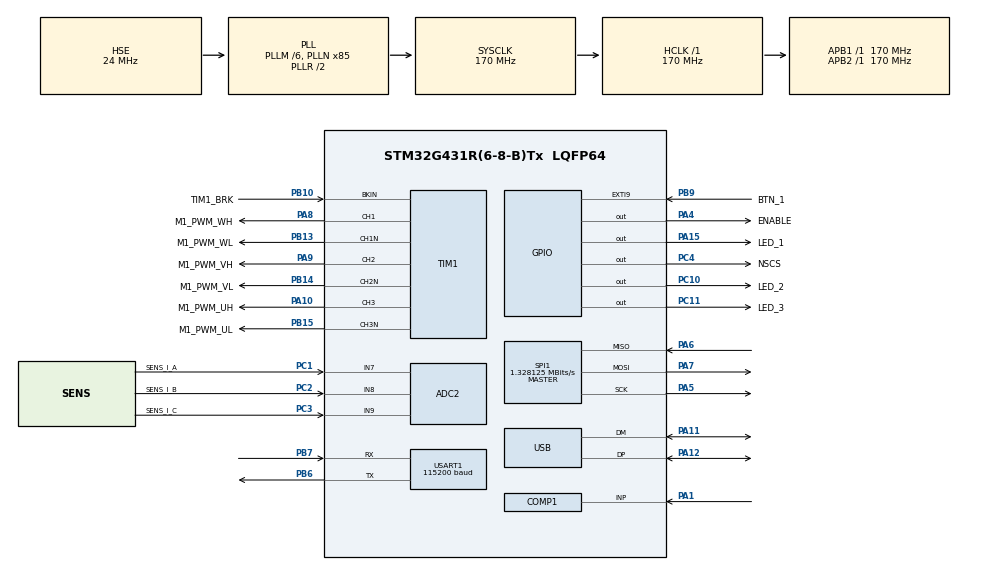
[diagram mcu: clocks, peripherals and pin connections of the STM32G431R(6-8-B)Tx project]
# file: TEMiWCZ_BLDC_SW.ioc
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ADC2.ClockPrescaler=ADC_CLOCK_SYNC_PCLK_DIV4
ADC2.DataAlign=ADC_DATAALIGN_LEFT
ADC2.EnableInjectedConversion=ENABLE
ADC2.EnableRegularConversion=DISABLE
ADC2.ExternalTrigInjecConv=ADC_EXTERNALTRIGINJEC_T1_TRGO
ADC2.InjNumberOfConversion=3
ADC2.InjectedChannel-5\#ChannelInjectedConversion=ADC_CHANNEL_7
ADC2.InjectedChannel-6\#ChannelInjectedConversion=ADC_CHANNEL_8
ADC2.InjectedChannel-7\#ChannelInjectedConversion=ADC_CHANNEL_9
ADC2.InjectedOffsetNumber-5\#ChannelInjectedConversion=ADC_OFFSET_NONE
ADC2.InjectedOffsetNumber-6\#ChannelInjectedConversion=ADC_OFFSET_NONE
ADC2.InjectedOffsetNumber-7\#ChannelInjectedConversion=ADC_OFFSET_NONE
ADC2.InjectedRank-5\#ChannelInjectedConversion=1
ADC2.InjectedRank-6\#ChannelInjectedConversion=2
ADC2.InjectedRank-7\#ChannelInjectedConversion=3
ADC2.InjectedSamplingTime-5\#ChannelInjectedConversion=ADC_SAMPLETIME_6CYCLES_5
ADC2.InjectedSamplingTime-6\#ChannelInjectedConversion=ADC_SAMPLETIME_6CYCLES_5
ADC2.InjectedSamplingTime-7\#ChannelInjectedConversion=ADC_SAMPLETIME_6CYCLES_5
ADC2.Rank1_Channel=ADC_CHANNEL_7
ADC2.Rank2_Channel=ADC_CHANNEL_8
ADC2.Rank3_Channel=ADC_CHANNEL_9
Mcu.Family=STM32G4
Mcu.Name=STM32G431R(6-8-B)Tx
Mcu.Package=LQFP64
NVIC.ADC1_2_IRQn=true\:2\:0\:true\:false\:true\:true\:true\:true
NVIC.EXTI9_5_IRQn=true\:0\:0\:false\:false\:true\:true\:true\:true
NVIC.PriorityGroup=NVIC_PRIORITYGROUP_3
NVIC.SPI1_IRQn=true\:0\:0\:false\:false\:true\:true\:true\:true
NVIC.TIM1_BRK_TIM15_IRQn=true\:4\:1\:true\:false\:true\:true\:true\:true
NVIC.TIM1_UP_TIM16_IRQn=true\:0\:0\:true\:false\:true\:true\:true\:true
NVIC.USART1_IRQn=true\:0\:0\:false\:false\:true\:true\:true\:true
NVIC.USB_HP_IRQn=true\:3\:0\:true\:false\:true\:true\:true\:true
NVIC.USB_LP_IRQn=true\:3\:0\:true\:false\:true\:true\:true\:true
PA1.Mode=INP
PA1.Signal=COMP1_INP
PA10.GPIO_Label=M1_PWM_UH
PA10.GPIO_PuPd=GPIO_PULLDOWN
PA10.GPIO_Speed=GPIO_SPEED_FREQ_HIGH
PA10.Signal=S_TIM1_CH3
PA11.Mode=Device
PA11.Signal=USB_DM
PA12.Mode=Device
PA12.Signal=USB_DP
PA13.GPIO_Label=T_SWDIO
PA13.Mode=Trace_Asynchronous_SW
PA13.Signal=SYS_JTMS-SWDIO
PA14.GPIO_Label=T_SWCLK
PA14.Mode=Trace_Asynchronous_SW
PA14.Signal=SYS_JTCK-SWCLK
PA15.GPIO_Label=LED_1
PA15.Signal=GPIO_Output
PA4.GPIO_Label=ENABLE
PA4.PinState=GPIO_PIN_SET
PA4.Signal=GPIO_Output
PA5.Mode=Full_Duplex_Master
PA5.Signal=SPI1_SCK
PA6.Mode=Full_Duplex_Master
PA6.Signal=SPI1_MISO
PA7.Mode=Full_Duplex_Master
PA7.Signal=SPI1_MOSI
PA8.GPIO_Label=M1_PWM_WH
PA8.GPIO_PuPd=GPIO_PULLDOWN
PA8.GPIO_Speed=GPIO_SPEED_FREQ_HIGH
PA8.Signal=S_TIM1_CH1
PA9.GPIO_Label=M1_PWM_VH
PA9.GPIO_PuPd=GPIO_PULLDOWN
PA9.GPIO_Speed=GPIO_SPEED_FREQ_HIGH
PA9.Signal=S_TIM1_CH2
PB10.GPIO_Label=TIM1_BRK
PB10.Mode=Activate-Break-Input
PB10.Signal=TIM1_BKIN
PB13.GPIO_Label=M1_PWM_WL
PB13.GPIO_PuPd=GPIO_PULLDOWN
PB13.GPIO_Speed=GPIO_SPEED_FREQ_HIGH
PB13.Mode=PWM Generation1 CH1 CH1N
PB13.Signal=TIM1_CH1N
PB14.GPIO_Label=M1_PWM_VL
PB14.GPIO_PuPd=GPIO_PULLDOWN
PB14.GPIO_Speed=GPIO_SPEED_FREQ_HIGH
PB14.Mode=PWM Generation2 CH2 CH2N
PB14.Signal=TIM1_CH2N
PB15.GPIO_Label=M1_PWM_UL
PB15.GPIO_PuPd=GPIO_PULLDOWN
PB15.GPIO_Speed=GPIO_SPEED_FREQ_HIGH
PB15.Mode=PWM Generation3 CH3 CH3N
PB15.Signal=TIM1_CH3N
PB3.Mode=Trace_Asynchronous_SW
PB3.Signal=SYS_JTDO-SWO
PB6.Mode=Asynchronous
PB6.Signal=USART1_TX
PB7.Mode=Asynchronous
PB7.Signal=USART1_RX
PB9.GPIO_Label=BTN_1
PB9.GPIO_ModeDefaultEXTI=GPIO_MODE_IT_FALLING
PB9.GPIO_PuPd=GPIO_PULLUP
PB9.Signal=GPXTI9
PC1.GPIO_Label=SENS_I_A
PC1.Mode=IN7-Single-Ended
PC1.Signal=ADC2_IN7
PC10.GPIO_Label=LED_2
PC10.Signal=GPIO_Output
PC11.GPIO_Label=LED_3
PC11.Signal=GPIO_Output
PC2.GPIO_Label=SENS_I_B
PC2.Mode=IN8-Single-Ended
PC2.Signal=ADC2_IN8
PC3.GPIO_Label=SENS_I_C
PC3.Mode=IN9-Single-Ended
PC3.Signal=ADC2_IN9
PC4.GPIO_Label=NSCS
PC4.PinState=GPIO_PIN_SET
PC4.Signal=GPIO_Output
PF0-OSC_IN.GPIO_Label=RCC_OSC_IN
PF0-OSC_IN.Mode=HSE-External-Oscillator
PF0-OSC_IN.Signal=RCC_OSC_IN
PF1-OSC_OUT.GPIO_Label=RCC_OSC_OUT
PF1-OSC_OUT.Mode=HSE-External-Oscillator
PF1-OSC_OUT.Signal=RCC_OSC_OUT
ProjectManager.HeapSize=0x200
ProjectManager.StackSize=0x400
ProjectManager.TargetToolchain=CMake
RCC.ADC12CLockSelection=RCC_ADC12CLKSOURCE_PLL
RCC.ADC12Freq_Value=42500000
RCC.AHBFreq_Value=170000000
RCC.APB1Freq_Value=170000000
RCC.APB1TimFreq_Value=170000000
RCC.APB2Freq_Value=170000000
RCC.APB2TimFreq_Value=170000000
RCC.CK48CLockSelection=RCC_USBCLKSOURCE_HSI48
RCC.CortexFreq_Value=170000000
RCC.EXTERNAL_CLOCK_VALUE=12288000
RCC.EnbaleCSS=true
RCC.HCLKFreq_Value=170000000
RCC.HSE_VALUE=24000000
RCC.HSI48_VALUE=48000000
RCC.HSI_VALUE=16000000
RCC.LSE_VALUE=32768
RCC.PLLM=RCC_PLLM_DIV6
RCC.PLLN=85
RCC.PLLP=RCC_PLLP_DIV8
RCC.PLLSourceVirtual=RCC_PLLSOURCE_HSE
RCC.PREFETCH_ENABLE=1
RCC.RTCClockSelection=RCC_RTCCLKSOURCE_LSE
RCC.SYSCLKFreq_VALUE=170000000
RCC.SYSCLKSource=RCC_SYSCLKSOURCE_PLLCLK
RCC.USBFreq_Value=48000000
RCC.VCOOutputFreq_Value=340000000
SH.S_TIM1_CH1.0=TIM1_CH1,PWM Generation1 CH1 CH1N
SH.S_TIM1_CH2.0=TIM1_CH2,PWM Generation2 CH2 CH2N
SH.S_TIM1_CH3.0=TIM1_CH3,PWM Generation3 CH3 CH3N
SPI1.BaudRatePrescaler=SPI_BAUDRATEPRESCALER_128
SPI1.CLKPhase=SPI_PHASE_2EDGE
SPI1.CLKPolarity=SPI_POLARITY_LOW
SPI1.CalculateBaudRate=1.328125 MBits/s
SPI1.DataSize=SPI_DATASIZE_16BIT
SPI1.Direction=SPI_DIRECTION_2LINES
SPI1.FirstBit=SPI_FIRSTBIT_MSB
SPI1.Mode=SPI_MODE_MASTER
SPI1.VirtualType=VM_MASTER
TIM1.AutoReloadPreload=TIM_AUTORELOAD_PRELOAD_DISABLE
TIM1.BreakFilter=3
TIM1.BreakPolarity=TIM_BREAKPOLARITY_HIGH
TIM1.BreakState=TIM_BREAK_DISABLE
TIM1.Channel-PWM\ Generation1\ CH1\ CH1N=TIM_CHANNEL_1
TIM1.Channel-PWM\ Generation2\ CH2\ CH2N=TIM_CHANNEL_2
TIM1.Channel-PWM\ Generation3\ CH3\ CH3N=TIM_CHANNEL_3
TIM1.Channel-PWM\ Generation4\ No\ Output=TIM_CHANNEL_4
TIM1.ClockDivision=TIM_CLOCKDIVISION_DIV2
TIM1.CounterMode=TIM_COUNTERMODE_CENTERALIGNED1
TIM1.DeadTime=((DEAD_TIME_COUNTS) / 2)
TIM1.OCMode_PWM-PWM\ Generation4\ No\ Output=TIM_OCMODE_PWM2
TIM1.OffStateIDLEMode=TIM_OSSI_ENABLE
TIM1.OffStateRunMode=TIM_OSSR_ENABLE
TIM1.PeriodNoDither=((PWM_PERIOD_CYCLES) / 2)
TIM1.Prescaler=((TIM_CLOCK_DIVIDER) - 1)
TIM1.PulseNoDither_1=((PWM_PERIOD_CYCLES) / 4)
TIM1.PulseNoDither_2=((PWM_PERIOD_CYCLES) / 4)
TIM1.PulseNoDither_3=((PWM_PERIOD_CYCLES) / 4)
TIM1.PulseNoDither_4=(((PWM_PERIOD_CYCLES) / 2) - (HTMIN))
TIM1.RepetitionCounter=(REP_COUNTER)
TIM1.SourceBRKDigInputPolarity=TIM_BREAKINPUTSOURCE_POLARITY_LOW
TIM1.TIM_MasterOutputTrigger=TIM_TRGO_OC4REF
USART1.BaudRate=115200
USART1.VirtualMode-Asynchronous=VM_ASYNC
USB_DEVICE.CLASS_NAME_FS=CDC
USB_DEVICE.PID_CDC_FS=0x7522
USB_DEVICE.USBD_MAX_NUM_INTERFACES=1
USB_DEVICE.VID=0x1A86
USB_DEVICE.VirtualMode=Cdc
USB_DEVICE.VirtualModeFS=Cdc_FS
VP_COMP1_VS_VREFINT.Mode=VREFINT
VP_CORDIC_VS_CORDIC.Mode=CORDIC_Activate
VP_SYS_VS_DBSignals.Mode=DisableDeadBatterySignals
VP_TIM1_VS_no_output4.Mode=PWM Generation4 No Output
VP_USB_DEVICE_VS_USB_DEVICE_CDC_FS.Mode=CDC_FS
board=NUCLEO-G431RB

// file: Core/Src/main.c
/* USER CODE BEGIN Header */
/**
  ******************************************************************************
  * @file           : main.c
  * @brief          : Main program body
  ******************************************************************************
  * @attention
  *
  * Copyright (c) 2025 STMicroelectronics.
  * All rights reserved.
  *
  * This software is licensed under terms that can be found in the LICENSE file
  * in the root directory of this software component.
  * If no LICENSE file comes with this software, it is provided AS-IS.
  *
  ******************************************************************************
  */
/* USER CODE END Header */
#include "main.h"
#include "adc.h"
#include "comp.h"
#include "cordic.h"
#include "spi.h"
#include "tim.h"
#include "usart.h"
#include "usb_device.h"
#include "gpio.h"

/* USER CODE BEGIN Includes */
#include "drv8323.h"
#include "mc_config.h"
/* USER CODE END Includes */

void SystemClock_Config(void);

/* USER CODE BEGIN 0 */
int __io_putchar(int chr){
  ITM_SendChar(chr);
  return 1;
}

void ITM_SendValue (int port, uint32_t value)
{
    if ((ITM->TCR & ITM_TCR_ITMENA_Msk) && (ITM->TER & (1UL << port)))
    {
        while (ITM->PORT[port].u32 == 0);
        ITM->PORT[port].u32 = value;
    }
}
/* USER CODE END 0 */

int main(void)
{

  /* MCU Configuration--------------------------------------------------------*/

  /* Reset of all peripherals, Initializes the Flash interface and the Systick. */
  HAL_Init();

  /* Configure the system clock */
  SystemClock_Config();

  /* Initialize all configured peripherals */
  MX_GPIO_Init();
  MX_TIM1_Init();
  MX_SPI1_Init();
  MX_ADC2_Init();
  MX_USART1_UART_Init();
  MX_USB_Device_Init();
  MX_CORDIC_Init();
  MX_COMP1_Init();
  /* USER CODE BEGIN 2 */
  MC_Init();
  DRV8323_calibrateCSA();
  DRV8323_setupSpi();

  // ADC_StartDMA_ADC();
  // TIM_StartTIM1();

  MCI_SetOpenLoopVoltageMode(&Mci[M1]);
  int16_t voltage = 50;
  OL_UpdateVoltage(&OpenLoop_ParamsM1, ((voltage * 32767) / 100));
  int32_t rpm = 500; // przykładowa wartość prędkości obrotowej w RPM
  MCI_ExecSpeedRamp((int16_t)((rpm * SPEED_UNIT) / U_RPM), 1000);

  // #define SIZE 4
  // const uint8_t data[SIZE] = {0,1,2,3};
  // HAL_UART_Transmit_IT(&huart1, data, SIZE);
  /* USER CODE END 2 */

  /* Infinite loop */
  /* USER CODE BEGIN WHILE */
  while (1)
  {
    // DRV8323_Check();
    /* USER CODE END WHILE */

  }
}

void SystemClock_Config(void)
{
  RCC_OscInitTypeDef RCC_OscInitStruct = {0};
  RCC_ClkInitTypeDef RCC_ClkInitStruct = {0};

  /** Configure the main internal regulator output voltage
  */
  HAL_PWREx_ControlVoltageScaling(PWR_REGULATOR_VOLTAGE_SCALE1_BOOST);

  /** Initializes the RCC Oscillators according to the specified parameters
  * in the RCC_OscInitTypeDef structure.
  */
  RCC_OscInitStruct.OscillatorType = RCC_OSCILLATORTYPE_HSI48|RCC_OSCILLATORTYPE_HSE;
  RCC_OscInitStruct.HSEState = RCC_HSE_ON;
  RCC_OscInitStruct.HSI48State = RCC_HSI48_ON;
  RCC_OscInitStruct.PLL.PLLState = RCC_PLL_ON;
  RCC_OscInitStruct.PLL.PLLSource = RCC_PLLSOURCE_HSE;
  RCC_OscInitStruct.PLL.PLLM = RCC_PLLM_DIV6;
  RCC_OscInitStruct.PLL.PLLN = 85;
  RCC_OscInitStruct.PLL.PLLP = RCC_PLLP_DIV8;
  RCC_OscInitStruct.PLL.PLLQ = RCC_PLLQ_DIV2;
  RCC_OscInitStruct.PLL.PLLR = RCC_PLLR_DIV2;
  if (HAL_RCC_OscConfig(&RCC_OscInitStruct) != HAL_OK)
  {
    Error_Handler();
  }

  /** Initializes the CPU, AHB and APB buses clocks
  */
  RCC_ClkInitStruct.ClockType = RCC_CLOCKTYPE_HCLK|RCC_CLOCKTYPE_SYSCLK
                              |RCC_CLOCKTYPE_PCLK1|RCC_CLOCKTYPE_PCLK2;
  RCC_ClkInitStruct.SYSCLKSource = RCC_SYSCLKSOURCE_PLLCLK;
  RCC_ClkInitStruct.AHBCLKDivider = RCC_SYSCLK_DIV1;
  RCC_ClkInitStruct.APB1CLKDivider = RCC_HCLK_DIV1;
  RCC_ClkInitStruct.APB2CLKDivider = RCC_HCLK_DIV1;

  if (HAL_RCC_ClockConfig(&RCC_ClkInitStruct, FLASH_LATENCY_4) != HAL_OK)
  {
    Error_Handler();
  }

  /** Enables the Clock Security System
  */
  HAL_RCC_EnableCSS();
}

void Error_Handler(void)
{
  __disable_irq();
  while (1)
  {
  }
}
